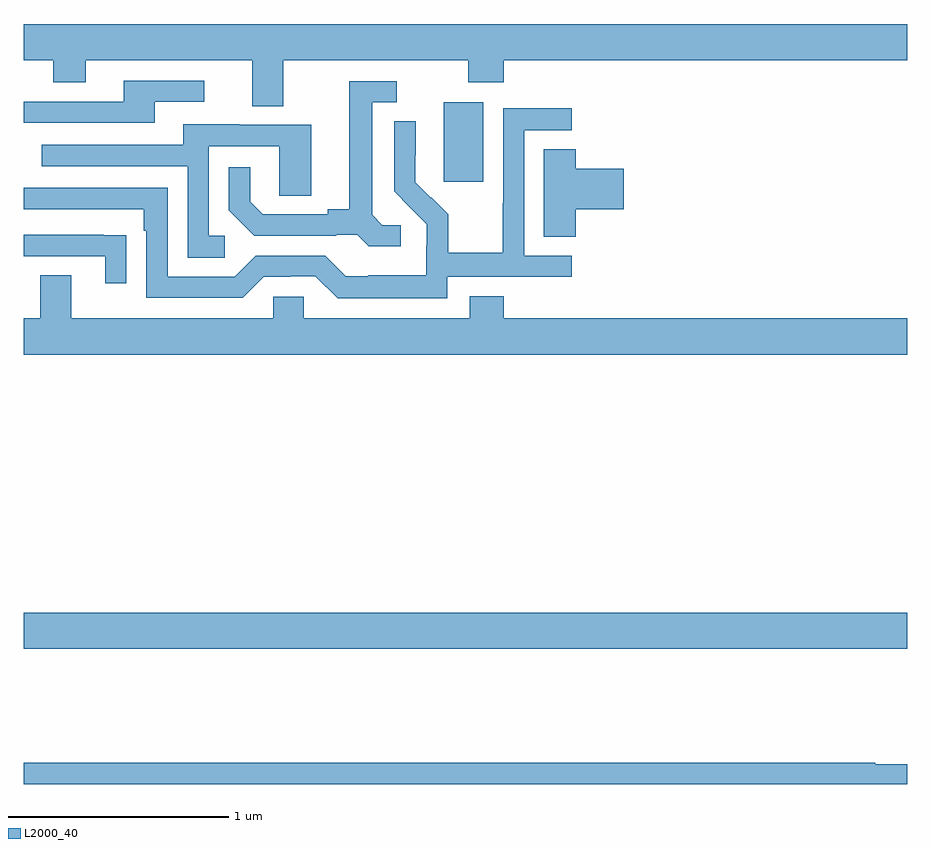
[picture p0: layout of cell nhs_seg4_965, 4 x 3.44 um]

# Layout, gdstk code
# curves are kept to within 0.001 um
import gdstk
lib = gdstk.Library(unit=1e-6, precision=1e-09)
def R(c, l, rs):  # rectangles x0, y0, x1, y1
    for r in rs: c.add(gdstk.rectangle(r[:2], r[2:], *l))
def P(c, l, *ps):  # polygons
    for p in ps: c.add(gdstk.Polygon(p, *l))
L2000_40 = (2000, 40)

nhs_seg4_965 = lib.new_cell('nhs_seg4_965')
R(nhs_seg4_965, L2000_40, [(161,771.512,165,771.676), (162.902,773.625,163.081,773.986)])
P(nhs_seg4_965, L2000_40, [(162.175,774.176),(163.012,774.176),(163.012,774.077),(163.172,774.077),(163.172,774.176),(165,774.176),(165,774.34),(161,774.34),(161,774.176),(161.134,774.176),(161.134,774.077),(161.281,774.077),(161.281,774.176),(162.035,774.176),(162.035,773.968),(162.175,773.968)],
  [(161.593,773.988),(161.818,773.988),(161.818,774.084),(161.453,774.084),(161.453,773.988),(161,773.988),(161,773.892),(161.593,773.892)],
  [(162.706,773.43),(162.624,773.43),(162.577,773.477),(162.577,773.985),(162.688,773.985),(162.688,774.081),(162.473,774.081),(162.473,773.501),(162.377,773.501),(162.377,773.478),(162.082,773.478),(162.025,773.535),(162.025,773.692),(161.928,773.692),(161.928,773.498),(162.044,773.382),(162.416,773.382),(162.416,773.385),(162.51,773.385),(162.562,773.333),(162.706,773.333)],
  [(162.918,773.196),(163.48,773.196),(163.48,773.292),(163.266,773.292),(163.266,773.859),(163.48,773.859),(163.48,773.958),(163.17,773.958),(163.17,773.528),(163.168,773.528),(163.168,773.305),(162.923,773.305),(162.923,773.479),(162.846,773.556),(162.843,773.553),(162.773,773.624),(162.774,773.9),(162.678,773.9),(162.678,773.582),(162.824,773.434),(162.824,773.337),(162.822,773.337),(162.822,773.203),(162.559,773.203),(162.559,773.199),(162.459,773.199),(162.366,773.292),(162.051,773.292),(161.955,773.196),(161.652,773.196),(161.652,773.598),(161,773.598),(161,773.502),(161.543,773.502),(161.543,773.405),(161.556,773.405),(161.556,773.1),(161.991,773.1),(162.087,773.196),(162.206,773.196),(162.206,773.199),(162.321,773.199),(162.421,773.099),(162.918,773.099)],
  [(161.911,773.382),(161.838,773.382),(161.838,773.787),(162.156,773.787),(162.156,773.563),(162.301,773.563),(162.301,773.883),(161.977,773.883),(161.977,773.887),(161.723,773.887),(161.723,773.793),(161.083,773.793),(161.083,773.697),(161.742,773.697),(161.742,773.281),(161.911,773.281)],
  [(163.499,773.501),(163.717,773.501),(163.717,773.684),(163.499,773.684),(163.499,773.774),(163.355,773.774),(163.355,773.377),(163.499,773.377)],
  [(161.465,773.384),(161.363,773.384),(161.363,773.385),(161,773.385),(161,773.289),(161.369,773.289),(161.369,773.166),(161.465,773.166)],
  [(165,773.008),(163.172,773.008),(163.172,773.107),(163.019,773.107),(163.019,773.008),(162.267,773.008),(162.267,773.106),(162.129,773.106),(162.129,773.008),(161.215,773.008),(161.215,773.203),(161.075,773.203),(161.075,773.008),(161,773.008),(161,772.844),(165,772.844)],
  [(165,770.989),(164.855,770.989),(164.855,770.996),(161,770.996),(161,770.9),(165,770.9)])

lib.write_gds('nhs_seg4_965.gds')
